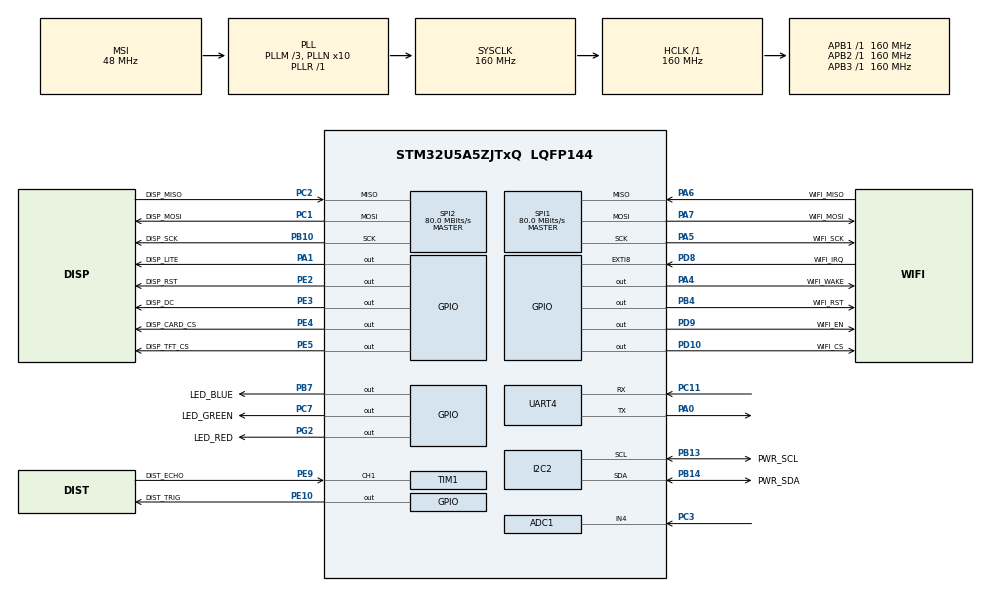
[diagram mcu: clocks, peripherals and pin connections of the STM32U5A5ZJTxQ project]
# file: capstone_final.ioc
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ADC1.Channel-0\#ChannelRegularConversion=ADC_CHANNEL_4
ADC1.MonitoredBy-0\#ChannelRegularConversion=__NULL
ADC1.NbrOfConversionFlag=1
ADC1.OffsetNumber-0\#ChannelRegularConversion=ADC_OFFSET_NONE
ADC1.Rank-0\#ChannelRegularConversion=1
ADC1.SamplingTime-0\#ChannelRegularConversion=ADC_SAMPLETIME_5CYCLE
ADC1.master=1
AES.Algorithm=CRYP_AES_GCM_GMAC
CORTEX_M33_NS.userName=CORTEX_M33
I2C2.Timing=0x30909DEC
Mcu.Family=STM32U5
Mcu.Name=STM32U5A5ZJTxQ
Mcu.Package=LQFP144
NVIC.PriorityGroup=NVIC_PRIORITYGROUP_4
NVIC.TIM1_CC_IRQn=true\:0\:0\:false\:false\:true\:true\:true\:true
PA0.Mode=Asynchronous
PA0.Signal=UART4_TX
PA1.GPIO_Label=DISP_LITE
PA1.Signal=GPIO_Output
PA13\ (JTMS/SWDIO).GPIO_Label=DEBUG_SWDIO
PA13\ (JTMS/SWDIO).Mode=Trace_Asynchronous_SW
PA13\ (JTMS/SWDIO).Signal=DEBUG_JTMS-SWDIO
PA14\ (JTCK/SWCLK).GPIO_Label=DEBUG_SWCLK
PA14\ (JTCK/SWCLK).Mode=Trace_Asynchronous_SW
PA14\ (JTCK/SWCLK).Signal=DEBUG_JTCK-SWCLK
PA4.GPIO_Label=WIFI_WAKE
PA4.Signal=GPIO_Output
PA5.GPIO_Label=WIFI_SCK
PA5.Mode=Full_Duplex_Master
PA5.Signal=SPI1_SCK
PA6.GPIO_Label=WIFI_MISO
PA6.Mode=Full_Duplex_Master
PA6.Signal=SPI1_MISO
PA7.GPIO_Label=WIFI_MOSI
PA7.Mode=Full_Duplex_Master
PA7.Signal=SPI1_MOSI
PB10.GPIO_Label=DISP_SCK
PB10.Mode=Full_Duplex_Master
PB10.Signal=SPI2_SCK
PB13.GPIO_Label=PWR_SCL
PB13.Mode=I2C
PB13.Signal=I2C2_SCL
PB14.GPIO_Label=PWR_SDA
PB14.Mode=I2C
PB14.Signal=I2C2_SDA
PB3\ (JTDO/TRACESWO).GPIO_Label=DEBUG_SWO
PB3\ (JTDO/TRACESWO).Mode=Trace_Asynchronous_SW
PB3\ (JTDO/TRACESWO).Signal=DEBUG_JTDO-SWO
PB4\ (NJTRST).GPIO_Label=WIFI_RST
PB4\ (NJTRST).Signal=GPIO_Output
PB7.GPIO_Label=LED_BLUE
PB7.Signal=GPIO_Output
PC1.GPIO_Label=DISP_MOSI
PC1.Mode=Full_Duplex_Master
PC1.Signal=SPI2_MOSI
PC11.Mode=Asynchronous
PC11.Signal=UART4_RX
PC2.GPIO_Label=DISP_MISO
PC2.Mode=Full_Duplex_Master
PC2.Signal=SPI2_MISO
PC3.Mode=IN4-Single-Ended
PC3.Signal=ADC1_IN4
PC7.GPIO_Label=LED_GREEN
PC7.Signal=GPIO_Output
PD10.GPIO_Label=WIFI_CS
PD10.Signal=GPIO_Output
PD8.GPIO_Label=WIFI_IRQ
PD8.Signal=GPXTI8
PD9.GPIO_Label=WIFI_EN
PD9.Signal=GPIO_Output
PE10.GPIO_Label=DIST_TRIG
PE10.Signal=GPIO_Output
PE2.GPIO_Label=DISP_RST
PE2.Signal=GPIO_Output
PE3.GPIO_Label=DISP_DC
PE3.Signal=GPIO_Output
PE4.GPIO_Label=DISP_CARD_CS
PE4.Signal=GPIO_Output
PE5.GPIO_Label=DISP_TFT_CS
PE5.Signal=GPIO_Output
PE9.GPIO_Label=DIST_ECHO
PE9.Signal=S_TIM1_CH1
PG2.GPIO_Label=LED_RED
PG2.Signal=GPIO_Output
ProjectManager.HeapSize=0x200
ProjectManager.StackSize=0x400
ProjectManager.TargetToolchain=STM32CubeIDE
RCC.ADCFreq_Value=16000000
RCC.AHBFreq_Value=160000000
RCC.APB1Freq_Value=160000000
RCC.APB1TimFreq_Value=160000000
RCC.APB2Freq_Value=160000000
RCC.APB2TimFreq_Value=160000000
RCC.APB3Freq_Value=160000000
RCC.CortexFreq_Value=160000000
RCC.EPOD_VALUE=48000000
RCC.HCLKFreq_Value=160000000
RCC.HSE_VALUE=16000000
RCC.HSI48_VALUE=48000000
RCC.HSI_VALUE=16000000
RCC.LSE_VALUE=32768
RCC.LSIDIV_VALUE=32000
RCC.MSIClockRange=RCC_MSIRANGE_0
RCC.MSI_VALUE=48000000
RCC.PLL1R=1
RCC.PLLFRACN=0
RCC.PLLM=3
RCC.PLLN=10
RCC.SYSCLKFreq_VALUE=160000000
RCC.SYSCLKSource=RCC_SYSCLKSOURCE_PLLCLK
RCC.VCOOutputFreq_Value=160000000
SH.S_TIM1_CH1.0=TIM1_CH1,Input_Capture1_from_TI1
SPI1.CalculateBaudRate=80.0 MBits/s
SPI1.Direction=SPI_DIRECTION_2LINES
SPI1.Mode=SPI_MODE_MASTER
SPI1.VirtualType=VM_MASTER
SPI2.CalculateBaudRate=80.0 MBits/s
SPI2.Direction=SPI_DIRECTION_2LINES
SPI2.Mode=SPI_MODE_MASTER
SPI2.VirtualType=VM_MASTER
TIM1.Channel-Input_Capture1_from_TI1=TIM_CHANNEL_1
TIM1.PeriodNoDither=0xffff-1
TIM1.Prescaler=160-1
VP_AES_VS_AES.Mode=AES_Activate
VP_ICACHE_VS_ICACHE.Mode=DirectMappedCache
VP_LPBAMQUEUE_VS_QUEUE.Mode=QUEUEMODE
VP_LPBAM_VS_SIG1.Mode=SmartRun
VP_LPBAM_VS_SIG4.Mode=LPDMA1
VP_MEMORYMAP_VS_MEMORYMAP.Mode=CurAppReg
VP_PWR_VS_SECSignals.Mode=Security/Privilege
VP_PWR_Vdda.Mode=isolationVdda
board=custom

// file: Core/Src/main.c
/* USER CODE BEGIN Header */
/**
  ******************************************************************************
  * @file           : main.c
  * @brief          : Main program body
  ******************************************************************************
  * @attention
  *
  * Copyright (c) 2024 STMicroelectronics.
  * All rights reserved.
  *
  * This software is licensed under terms that can be found in the LICENSE file
  * in the root directory of this software component.
  * If no LICENSE file comes with this software, it is provided AS-IS.
  *
  ******************************************************************************
  */
/* USER CODE END Header */
#include "main.h"

/* USER CODE BEGIN Includes */
#include <stdbool.h>
#include <string.h>

#include "common/include/nm_common.h"
#include "stm32u5xx_hal_conf.h"
#include "driver/include/m2m_wifi.h"
#include "socket/include/socket.h"
#include "config/conf_winc.h"
/* USER CODE END Includes */

ADC_HandleTypeDef hadc1;

CRYP_HandleTypeDef hcryp;
uint32_t pKeyAES[4] = {0x00000000,0x00000000,0x00000000,0x00000000};
uint32_t pInitVectAES[4] = {0x00000000,0x00000000,0x00000000,0x00000000};
__ALIGN_BEGIN static const uint32_t HeaderAES[1] __ALIGN_END = {
                            0x00000000};

I2C_HandleTypeDef hi2c2;

SPI_HandleTypeDef hspi1;
SPI_HandleTypeDef hspi2;

TIM_HandleTypeDef htim1;

UART_HandleTypeDef huart4;

/* USER CODE BEGIN PV */
UART_HandleTypeDef UartHandle;

typedef struct {
	uint16 sensor_id;
	uint16 battery;
	uint16 distance;
} payload_t;

payload_t payload = {
  			    .sensor_id = 1,
  			    .battery = 90,
  			    .distance = 20
  			  };

static uint8_t socketBuffer[MAIN_WIFI_M2M_BUFFER_SIZE];

static SOCKET controller_socket = -1;

static uint8_t wifi_connected;

static uint32_t Distance;

#ifdef __GNUC__
/* With GCC/RAISONANCE, small printf (option LD Linker->Libraries->Small printf
   set to 'Yes') calls __io_putchar() */
#define PUTCHAR_PROTOTYPE int __io_putchar(int ch)
#else
#define PUTCHAR_PROTOTYPE int fputc(int ch, FILE *f)
#endif /* __GNUC__ */
static void SystemClock_Config(void);
extern void isr(void);

void EXTI8_IRQHandler(void)
{
    uint16_t GPIO_Pin;

    /* Get GPIO_Pin */
    if (__HAL_GPIO_EXTI_GET_IT(CONF_WINC_SPI_INT_PIN))
    {
        GPIO_Pin = CONF_WINC_SPI_INT_PIN;
    }

    HAL_GPIO_EXTI_IRQHandler(GPIO_Pin);
}

void HAL_GPIO_EXTI_Rising_Callback(uint16_t GPIO_Pin)
{
	if(GPIO_Pin == CONF_WINC_SPI_INT_PIN)
    {
        isr();
    }
}

/* USER CODE END PV */

void SystemClock_Config(void);
static void MX_GPIO_Init(void);
static void MX_AES_Init(void);
static void MX_SPI1_Init(void);
static void MX_I2C2_Init(void);
static void MX_SPI2_Init(void);
static void MX_TIM1_Init(void);
static void MX_ADC1_Init(void);
static void MX_UART4_Init(void);
static void MX_ICACHE_Init(void);

/* USER CODE BEGIN 0 */
static void socket_cb(SOCKET sock, uint8_t u8Msg, void *pvMsg)
{
    switch (u8Msg)
    {
        /* Socket connected */
        case SOCKET_MSG_CONNECT:
        {
            tstrSocketConnectMsg *pstrConnect = (tstrSocketConnectMsg *)pvMsg ;
            if (pstrConnect && pstrConnect->s8Error >= 0)
            {
                printf("socket_cb: connect success!\r\n");
                send(controller_socket, &payload, sizeof(payload_t), 0);
            }
            else
            {
                printf("socket_cb: connect error!\r\n") ;
                close(controller_socket) ;
                controller_socket = -1 ;
            }
        }
        break ;
        /* Message send */
        case SOCKET_MSG_SEND:
        {
            printf("socket_cb: send success!\r\n") ;
            recv(controller_socket, socketBuffer, sizeof(socketBuffer), 0) ;
        }
        break;
        /* Message receive */
        case SOCKET_MSG_RECV:
        {
            tstrSocketRecvMsg *pstrRecv = (tstrSocketRecvMsg *)pvMsg ;
            if (pstrRecv && pstrRecv->s16BufferSize > 0)
            {
                printf("socket_cb: recv success!\r\n") ;
                printf("TCP Client Test Complete!\r\n") ;
            }
            else
            {
                printf("socket_cb: recv error!\r\n") ;
                close(controller_socket) ;
                controller_socket = -1 ;
            }
        }
        break;
        default:
        break;
    }
}

static void wifi_cb(uint8_t u8MsgType, void *pvMsg)
{
    switch (u8MsgType)
    {
        case M2M_WIFI_RESP_CON_STATE_CHANGED:
        {
            tstrM2mWifiStateChanged *pstrWifiState = (tstrM2mWifiStateChanged *)pvMsg;
            if (pstrWifiState->u8CurrState == M2M_WIFI_CONNECTED)
            {
                printf("wifi_cb: M2M_WIFI_RESP_CON_STATE_CHANGED: CONNECTED\r\n");
                m2m_wifi_request_dhcp_client();
            }
            else if (pstrWifiState->u8CurrState == M2M_WIFI_DISCONNECTED)
            {
                printf("wifi_cb: M2M_WIFI_RESP_CON_STATE_CHANGED: DISCONNECTED\r\n");
                wifi_connected = M2M_WIFI_DISCONNECTED;
                m2m_wifi_connect((char *)MAIN_WLAN_SSID, sizeof(MAIN_WLAN_SSID), MAIN_WLAN_AUTH, (char *)MAIN_WLAN_WPA_PSK_KEY, M2M_WIFI_CH_ALL);
            }
        }
        break;
        case M2M_WIFI_REQ_DHCP_CONF:
        {
            uint8_t *pu8IPAddress = (uint8_t *)pvMsg;
            wifi_connected = M2M_WIFI_CONNECTED;
            printf("wifi_cb: M2M_WIFI_REQ_DHCP_CONF : IP is %u.%u.%u.%u\r\n", pu8IPAddress[0], pu8IPAddress[1], pu8IPAddress[2], pu8IPAddress[3]);
        }
        break;
        default:
        break;
    }
}

void delay_us (uint16_t us)
{
	__HAL_TIM_SET_COUNTER(&htim1,0);
	while (__HAL_TIM_GET_COUNTER(&htim1) < us);
}

void HAL_TIM_IC_CaptureCallback(TIM_HandleTypeDef *htim)
{
	static uint32_t returnSignal = 0;
	static uint32_t begin_timestamp = 0;
	static uint32_t end_timestamp = 0;

	if (htim->Channel == HAL_TIM_ACTIVE_CHANNEL_1)
	{
		if (returnSignal) {
			returnSignal = 0;
			begin_timestamp = HAL_TIM_ReadCapturedValue(htim, TIM_CHANNEL_1);

			/* switching capture signal to falling edge */
			__HAL_TIM_SET_CAPTUREPOLARITY(htim, TIM_CHANNEL_1, TIM_INPUTCHANNELPOLARITY_FALLING);
		} else {
			returnSignal = 1;
			end_timestamp = HAL_TIM_ReadCapturedValue(htim, TIM_CHANNEL_1);

			/* Resetting timer */
			__HAL_TIM_SET_COUNTER(htim, 0);

			/* from documentation: range = high level time * velocity (340M/S) / 2 -> m/s */
			/* doing cm/us here instead as time is captured in us, not s */
			Distance = (end_timestamp - begin_timestamp) * .034/2;

			/* switching capture signal to rising edge */
			__HAL_TIM_SET_CAPTUREPOLARITY(htim, TIM_CHANNEL_1, TIM_INPUTCHANNELPOLARITY_RISING);

			/* Resetting interrupt */
			__HAL_TIM_DISABLE_IT(&htim1, TIM_IT_CC1);
		}
	}
}

void read_distance (void)
{
	HAL_GPIO_WritePin(DIST_TRIG_GPIO_Port, DIST_TRIG_Pin, GPIO_PIN_SET);  // pull the TRIG pin HIGH

	/* delay 10us in accordance with HS - SR04 documentation */
	delay_us(10);

	HAL_GPIO_WritePin(DIST_TRIG_GPIO_Port, DIST_TRIG_Pin, GPIO_PIN_RESET);  // pull the TRIG pin low

	/* Enable interrupt */
	__HAL_TIM_ENABLE_IT(&htim1, TIM_IT_CC1);
}

/* USER CODE END 0 */

int main(void)
{
  /* USER CODE BEGIN 1 */
  tstrWifiInitParam param;
  int8_t ret;
  struct sockaddr_in addr;
  /* USER CODE END 1 */

  /* MCU Configuration--------------------------------------------------------*/

  /* Reset of all peripherals, Initializes the Flash interface and the Systick. */
  HAL_Init();

  /* Configure the system clock */
  SystemClock_Config();

  /* USER CODE BEGIN SysInit */
  UartHandle.Instance        = USARTx;

  UartHandle.Init.BaudRate   = 115200 ; //9600
  UartHandle.Init.WordLength = UART_WORDLENGTH_8B;
  UartHandle.Init.StopBits   = UART_STOPBITS_1;
  UartHandle.Init.Parity     = UART_PARITY_NONE; //UART_PARITY_ODD
  UartHandle.Init.HwFlowCtl  = UART_HWCONTROL_NONE;
  UartHandle.Init.Mode       = UART_MODE_TX_RX;
  UartHandle.Init.OverSampling = UART_OVERSAMPLING_16;
  if (HAL_UART_Init(&UartHandle) != HAL_OK)
  {
    /* Initialization Error */
    Error_Handler();
  }
  /* USER CODE END SysInit */

  /* Initialize all configured peripherals */
  MX_GPIO_Init();
  MX_AES_Init();
  MX_SPI1_Init();
  MX_I2C2_Init();
  MX_SPI2_Init();
  MX_TIM1_Init();
  MX_ADC1_Init();
  MX_UART4_Init();
  MX_ICACHE_Init();
  /* USER CODE BEGIN 2 */
  HAL_TIM_Base_Start(&htim1);
  /* GPIO Ports Clock Enable */
  __GPIOC_CLK_ENABLE();
  __GPIOA_CLK_ENABLE();
  __GPIOB_CLK_ENABLE();

  printf("Initializing...\n");

  ret = HAL_TIM_IC_Start_IT(&htim1, TIM_CHANNEL_1);
  if (ret != HAL_OK) {
	printf("Error setting mode for distance sensor.\n");
	while (1) {}
  }

  /* Initialize the BSP. */
  printf("BSP Initialization Started\n");
  nm_bsp_init();
  printf("BSP Initialization Completed!\n");

  /* Initialize socket structure */
  addr.sin_family = AF_INET;
  addr.sin_port = _htons(MAIN_WIFI_M2M_SERVER_PORT);
  addr.sin_addr.s_addr = _htonl(MAIN_WIFI_M2M_SERVER_IP);

  /* USER CODE END 2 */

  /* Infinite loop */
  /* USER CODE BEGIN WHILE */

  memset((uint8_t *)&param, 0, sizeof(tstrWifiInitParam));

  /* Initialize Wi-Fi driver with data and status callbacks. */
  param.pfAppWifiCb = wifi_cb;
  ret = m2m_wifi_init(&param);
  if (M2M_SUCCESS != ret) {
      printf("main: m2m_wifi_init call error!(%d)\r\n", ret);
      while (1) {}
  }
/*
  socketInit();
  registerSocketCallback(socket_cb, NULL);

  ret = m2m_wifi_connect((char *)MAIN_WLAN_SSID, sizeof(MAIN_WLAN_SSID), MAIN_WLAN_AUTH, (char *)MAIN_WLAN_WPA_PSK_KEY, M2M_WIFI_CH_ALL);
  if (M2M_SUCCESS != ret) {
	  printf("main: m2m_wifi_connect call error!(%d)\r\n", ret);
  }

  SysTick_Config(SystemCoreClock/1000);
  wifi_connected = M2M_WIFI_CONNECTED;
*/

  while(1) {
	  //read_distance();
	  //HAL_Delay(400);
	  //printf("Dist: %ldcm\n", Distance);
	  /*
	  m2m_wifi_handle_events(NULL);

	  if (wifi_connected == M2M_WIFI_CONNECTED) {
		  if (controller_socket < 0) {
			  if ((controller_socket = socket(AF_INET, SOCK_STREAM, 0)) < 0) {
				  printf("main : failed to create TCP client socket error!\r\n");
				  continue;
			  }

			  // Connect server
			  ret = connect(controller_socket, (struct sockaddr *)&addr, sizeof(struct sockaddr_in)) ;

			  if (ret < 0)
			  {
				  close(controller_socket) ;
				  controller_socket = -1 ;
			  }

		  }
	  }
	  */
  }
    /* USER CODE END WHILE */

}

void SystemClock_Config(void)
{
  RCC_OscInitTypeDef RCC_OscInitStruct = {0};
  RCC_ClkInitTypeDef RCC_ClkInitStruct = {0};

  /** Configure the main internal regulator output voltage
  */
  if (HAL_PWREx_ControlVoltageScaling(PWR_REGULATOR_VOLTAGE_SCALE1) != HAL_OK)
  {
    Error_Handler();
  }

  /** Initializes the CPU, AHB and APB buses clocks
  */
  RCC_OscInitStruct.OscillatorType = RCC_OSCILLATORTYPE_HSI|RCC_OSCILLATORTYPE_MSI;
  RCC_OscInitStruct.HSIState = RCC_HSI_ON;
  RCC_OscInitStruct.HSICalibrationValue = RCC_HSICALIBRATION_DEFAULT;
  RCC_OscInitStruct.MSIState = RCC_MSI_ON;
  RCC_OscInitStruct.MSICalibrationValue = RCC_MSICALIBRATION_DEFAULT;
  RCC_OscInitStruct.MSIClockRange = RCC_MSIRANGE_0;
  RCC_OscInitStruct.PLL.PLLState = RCC_PLL_ON;
  RCC_OscInitStruct.PLL.PLLSource = RCC_PLLSOURCE_MSI;
  RCC_OscInitStruct.PLL.PLLMBOOST = RCC_PLLMBOOST_DIV4;
  RCC_OscInitStruct.PLL.PLLM = 3;
  RCC_OscInitStruct.PLL.PLLN = 10;
  RCC_OscInitStruct.PLL.PLLP = 2;
  RCC_OscInitStruct.PLL.PLLQ = 2;
  RCC_OscInitStruct.PLL.PLLR = 1;
  RCC_OscInitStruct.PLL.PLLRGE = RCC_PLLVCIRANGE_1;
  RCC_OscInitStruct.PLL.PLLFRACN = 0;
  if (HAL_RCC_OscConfig(&RCC_OscInitStruct) != HAL_OK)
  {
    Error_Handler();
  }

  /** Initializes the CPU, AHB and APB buses clocks
  */
  RCC_ClkInitStruct.ClockType = RCC_CLOCKTYPE_HCLK|RCC_CLOCKTYPE_SYSCLK
                              |RCC_CLOCKTYPE_PCLK1|RCC_CLOCKTYPE_PCLK2
                              |RCC_CLOCKTYPE_PCLK3;
  RCC_ClkInitStruct.SYSCLKSource = RCC_SYSCLKSOURCE_PLLCLK;
  RCC_ClkInitStruct.AHBCLKDivider = RCC_SYSCLK_DIV1;
  RCC_ClkInitStruct.APB1CLKDivider = RCC_HCLK_DIV1;
  RCC_ClkInitStruct.APB2CLKDivider = RCC_HCLK_DIV1;
  RCC_ClkInitStruct.APB3CLKDivider = RCC_HCLK_DIV1;

  if (HAL_RCC_ClockConfig(&RCC_ClkInitStruct, FLASH_LATENCY_4) != HAL_OK)
  {
    Error_Handler();
  }
}

static void MX_ADC1_Init(void)
{

  ADC_ChannelConfTypeDef sConfig = {0};

  /** Common config
  */
  hadc1.Instance = ADC1;
  hadc1.Init.ClockPrescaler = ADC_CLOCK_ASYNC_DIV1;
  hadc1.Init.Resolution = ADC_RESOLUTION_14B;
  hadc1.Init.GainCompensation = 0;
  hadc1.Init.DataAlign = ADC_DATAALIGN_RIGHT;
  hadc1.Init.ScanConvMode = ADC_SCAN_DISABLE;
  hadc1.Init.EOCSelection = ADC_EOC_SINGLE_CONV;
  hadc1.Init.LowPowerAutoWait = DISABLE;
  hadc1.Init.ContinuousConvMode = DISABLE;
  hadc1.Init.NbrOfConversion = 1;
  hadc1.Init.DiscontinuousConvMode = DISABLE;
  hadc1.Init.ExternalTrigConv = ADC_SOFTWARE_START;
  hadc1.Init.ExternalTrigConvEdge = ADC_EXTERNALTRIGCONVEDGE_NONE;
  hadc1.Init.DMAContinuousRequests = DISABLE;
  hadc1.Init.TriggerFrequencyMode = ADC_TRIGGER_FREQ_HIGH;
  hadc1.Init.Overrun = ADC_OVR_DATA_PRESERVED;
  hadc1.Init.LeftBitShift = ADC_LEFTBITSHIFT_NONE;
  hadc1.Init.ConversionDataManagement = ADC_CONVERSIONDATA_DR;
  hadc1.Init.OversamplingMode = DISABLE;
  if (HAL_ADC_Init(&hadc1) != HAL_OK)
  {
    Error_Handler();
  }

  /** Configure Regular Channel
  */
  sConfig.Channel = ADC_CHANNEL_4;
  sConfig.Rank = ADC_REGULAR_RANK_1;
  sConfig.SamplingTime = ADC_SAMPLETIME_5CYCLE;
  sConfig.SingleDiff = ADC_SINGLE_ENDED;
  sConfig.OffsetNumber = ADC_OFFSET_NONE;
  sConfig.Offset = 0;
  if (HAL_ADC_ConfigChannel(&hadc1, &sConfig) != HAL_OK)
  {
    Error_Handler();
  }

}

static void MX_AES_Init(void)
{

  hcryp.Instance = AES;
  hcryp.Init.DataType = CRYP_NO_SWAP;
  hcryp.Init.KeySize = CRYP_KEYSIZE_128B;
  hcryp.Init.pKey = (uint32_t *)pKeyAES;
  hcryp.Init.pInitVect = (uint32_t *)pInitVectAES;
  hcryp.Init.Algorithm = CRYP_AES_GCM_GMAC;
  hcryp.Init.Header = (uint32_t *)HeaderAES;
  hcryp.Init.HeaderSize = 1;
  hcryp.Init.DataWidthUnit = CRYP_DATAWIDTHUNIT_WORD;
  hcryp.Init.HeaderWidthUnit = CRYP_HEADERWIDTHUNIT_WORD;
  hcryp.Init.KeyIVConfigSkip = CRYP_KEYIVCONFIG_ALWAYS;
  hcryp.Init.KeyMode = CRYP_KEYMODE_NORMAL;
  if (HAL_CRYP_Init(&hcryp) != HAL_OK)
  {
    Error_Handler();
  }

}

static void MX_I2C2_Init(void)
{

  hi2c2.Instance = I2C2;
  hi2c2.Init.Timing = 0x30909DEC;
  hi2c2.Init.OwnAddress1 = 0;
  hi2c2.Init.AddressingMode = I2C_ADDRESSINGMODE_7BIT;
  hi2c2.Init.DualAddressMode = I2C_DUALADDRESS_DISABLE;
  hi2c2.Init.OwnAddress2 = 0;
  hi2c2.Init.OwnAddress2Masks = I2C_OA2_NOMASK;
  hi2c2.Init.GeneralCallMode = I2C_GENERALCALL_DISABLE;
  hi2c2.Init.NoStretchMode = I2C_NOSTRETCH_DISABLE;
  if (HAL_I2C_Init(&hi2c2) != HAL_OK)
  {
    Error_Handler();
  }

  /** Configure Analogue filter
  */
  if (HAL_I2CEx_ConfigAnalogFilter(&hi2c2, I2C_ANALOGFILTER_ENABLE) != HAL_OK)
  {
    Error_Handler();
  }

  /** Configure Digital filter
  */
  if (HAL_I2CEx_ConfigDigitalFilter(&hi2c2, 0) != HAL_OK)
  {
    Error_Handler();
  }

}

static void MX_ICACHE_Init(void)
{

  /** Enable instruction cache in 1-way (direct mapped cache)
  */
  if (HAL_ICACHE_ConfigAssociativityMode(ICACHE_1WAY) != HAL_OK)
  {
    Error_Handler();
  }
  if (HAL_ICACHE_Enable() != HAL_OK)
  {
    Error_Handler();
  }

}

static void MX_SPI1_Init(void)
{

  SPI_AutonomousModeConfTypeDef HAL_SPI_AutonomousMode_Cfg_Struct = {0};

  /* SPI1 parameter configuration*/
  hspi1.Instance = SPI1;
  hspi1.Init.Mode = SPI_MODE_MASTER;
  hspi1.Init.Direction = SPI_DIRECTION_2LINES;
  hspi1.Init.DataSize = SPI_DATASIZE_4BIT;
  hspi1.Init.CLKPolarity = SPI_POLARITY_LOW;
  hspi1.Init.CLKPhase = SPI_PHASE_1EDGE;
  hspi1.Init.NSS = SPI_NSS_SOFT;
  hspi1.Init.BaudRatePrescaler = SPI_BAUDRATEPRESCALER_2;
  hspi1.Init.FirstBit = SPI_FIRSTBIT_MSB;
  hspi1.Init.TIMode = SPI_TIMODE_DISABLE;
  hspi1.Init.CRCCalculation = SPI_CRCCALCULATION_DISABLE;
  hspi1.Init.CRCPolynomial = 0x7;
  hspi1.Init.NSSPMode = SPI_NSS_PULSE_ENABLE;
  hspi1.Init.NSSPolarity = SPI_NSS_POLARITY_LOW;
  hspi1.Init.FifoThreshold = SPI_FIFO_THRESHOLD_01DATA;
  hspi1.Init.MasterSSIdleness = SPI_MASTER_SS_IDLENESS_00CYCLE;
  hspi1.Init.MasterInterDataIdleness = SPI_MASTER_INTERDATA_IDLENESS_00CYCLE;
  hspi1.Init.MasterReceiverAutoSusp = SPI_MASTER_RX_AUTOSUSP_DISABLE;
  hspi1.Init.MasterKeepIOState = SPI_MASTER_KEEP_IO_STATE_DISABLE;
  hspi1.Init.IOSwap = SPI_IO_SWAP_DISABLE;
  hspi1.Init.ReadyMasterManagement = SPI_RDY_MASTER_MANAGEMENT_INTERNALLY;
  hspi1.Init.ReadyPolarity = SPI_RDY_POLARITY_HIGH;
  if (HAL_SPI_Init(&hspi1) != HAL_OK)
  {
    Error_Handler();
  }
  HAL_SPI_AutonomousMode_Cfg_Struct.TriggerState = SPI_AUTO_MODE_DISABLE;
  HAL_SPI_AutonomousMode_Cfg_Struct.TriggerSelection = SPI_GRP1_GPDMA_CH0_TCF_TRG;
  HAL_SPI_AutonomousMode_Cfg_Struct.TriggerPolarity = SPI_TRIG_POLARITY_RISING;
  if (HAL_SPIEx_SetConfigAutonomousMode(&hspi1, &HAL_SPI_AutonomousMode_Cfg_Struct) != HAL_OK)
  {
    Error_Handler();
  }

}

static void MX_SPI2_Init(void)
{

  SPI_AutonomousModeConfTypeDef HAL_SPI_AutonomousMode_Cfg_Struct = {0};

  /* SPI2 parameter configuration*/
  hspi2.Instance = SPI2;
  hspi2.Init.Mode = SPI_MODE_MASTER;
  hspi2.Init.Direction = SPI_DIRECTION_2LINES;
  hspi2.Init.DataSize = SPI_DATASIZE_4BIT;
  hspi2.Init.CLKPolarity = SPI_POLARITY_LOW;
  hspi2.Init.CLKPhase = SPI_PHASE_1EDGE;
  hspi2.Init.NSS = SPI_NSS_SOFT;
  hspi2.Init.BaudRatePrescaler = SPI_BAUDRATEPRESCALER_2;
  hspi2.Init.FirstBit = SPI_FIRSTBIT_MSB;
  hspi2.Init.TIMode = SPI_TIMODE_DISABLE;
  hspi2.Init.CRCCalculation = SPI_CRCCALCULATION_DISABLE;
  hspi2.Init.CRCPolynomial = 0x7;
  hspi2.Init.NSSPMode = SPI_NSS_PULSE_ENABLE;
  hspi2.Init.NSSPolarity = SPI_NSS_POLARITY_LOW;
  hspi2.Init.FifoThreshold = SPI_FIFO_THRESHOLD_01DATA;
  hspi2.Init.MasterSSIdleness = SPI_MASTER_SS_IDLENESS_00CYCLE;
  hspi2.Init.MasterInterDataIdleness = SPI_MASTER_INTERDATA_IDLENESS_00CYCLE;
  hspi2.Init.MasterReceiverAutoSusp = SPI_MASTER_RX_AUTOSUSP_DISABLE;
  hspi2.Init.MasterKeepIOState = SPI_MASTER_KEEP_IO_STATE_DISABLE;
  hspi2.Init.IOSwap = SPI_IO_SWAP_DISABLE;
  hspi2.Init.ReadyMasterManagement = SPI_RDY_MASTER_MANAGEMENT_INTERNALLY;
  hspi2.Init.ReadyPolarity = SPI_RDY_POLARITY_HIGH;
  if (HAL_SPI_Init(&hspi2) != HAL_OK)
  {
    Error_Handler();
  }
  HAL_SPI_AutonomousMode_Cfg_Struct.TriggerState = SPI_AUTO_MODE_DISABLE;
  HAL_SPI_AutonomousMode_Cfg_Struct.TriggerSelection = SPI_GRP1_GPDMA_CH0_TCF_TRG;
  HAL_SPI_AutonomousMode_Cfg_Struct.TriggerPolarity = SPI_TRIG_POLARITY_RISING;
  if (HAL_SPIEx_SetConfigAutonomousMode(&hspi2, &HAL_SPI_AutonomousMode_Cfg_Struct) != HAL_OK)
  {
    Error_Handler();
  }

}

static void MX_TIM1_Init(void)
{

  TIM_MasterConfigTypeDef sMasterConfig = {0};
  TIM_IC_InitTypeDef sConfigIC = {0};

  htim1.Instance = TIM1;
  htim1.Init.Prescaler = 160-1;
  htim1.Init.CounterMode = TIM_COUNTERMODE_UP;
  htim1.Init.Period = 65534;
  htim1.Init.ClockDivision = TIM_CLOCKDIVISION_DIV1;
  htim1.Init.RepetitionCounter = 0;
  htim1.Init.AutoReloadPreload = TIM_AUTORELOAD_PRELOAD_DISABLE;
  if (HAL_TIM_IC_Init(&htim1) != HAL_OK)
  {
    Error_Handler();
  }
  sMasterConfig.MasterOutputTrigger = TIM_TRGO_RESET;
  sMasterConfig.MasterOutputTrigger2 = TIM_TRGO2_RESET;
  sMasterConfig.MasterSlaveMode = TIM_MASTERSLAVEMODE_DISABLE;
  if (HAL_TIMEx_MasterConfigSynchronization(&htim1, &sMasterConfig) != HAL_OK)
  {
    Error_Handler();
  }
  sConfigIC.ICPolarity = TIM_INPUTCHANNELPOLARITY_RISING;
  sConfigIC.ICSelection = TIM_ICSELECTION_DIRECTTI;
  sConfigIC.ICPrescaler = TIM_ICPSC_DIV1;
  sConfigIC.ICFilter = 0;
  if (HAL_TIM_IC_ConfigChannel(&htim1, &sConfigIC, TIM_CHANNEL_1) != HAL_OK)
  {
    Error_Handler();
  }

}

static void MX_UART4_Init(void)
{

  huart4.Instance = UART4;
  huart4.Init.BaudRate = 115200;
  huart4.Init.WordLength = UART_WORDLENGTH_8B;
  huart4.Init.StopBits = UART_STOPBITS_1;
  huart4.Init.Parity = UART_PARITY_NONE;
  huart4.Init.Mode = UART_MODE_TX_RX;
  huart4.Init.HwFlowCtl = UART_HWCONTROL_NONE;
  huart4.Init.OverSampling = UART_OVERSAMPLING_16;
  huart4.Init.OneBitSampling = UART_ONE_BIT_SAMPLE_DISABLE;
  huart4.Init.ClockPrescaler = UART_PRESCALER_DIV1;
  huart4.AdvancedInit.AdvFeatureInit = UART_ADVFEATURE_NO_INIT;
  if (HAL_UART_Init(&huart4) != HAL_OK)
  {
    Error_Handler();
  }
  if (HAL_UARTEx_SetTxFifoThreshold(&huart4, UART_TXFIFO_THRESHOLD_1_8) != HAL_OK)
  {
    Error_Handler();
  }
  if (HAL_UARTEx_SetRxFifoThreshold(&huart4, UART_RXFIFO_THRESHOLD_1_8) != HAL_OK)
  {
    Error_Handler();
  }
  if (HAL_UARTEx_DisableFifoMode(&huart4) != HAL_OK)
  {
    Error_Handler();
  }

}

static void MX_GPIO_Init(void)
{
  GPIO_InitTypeDef GPIO_InitStruct = {0};

  /* GPIO Ports Clock Enable */
  __HAL_RCC_GPIOE_CLK_ENABLE();
  __HAL_RCC_GPIOC_CLK_ENABLE();
  __HAL_RCC_GPIOA_CLK_ENABLE();
  __HAL_RCC_GPIOB_CLK_ENABLE();
  __HAL_RCC_GPIOD_CLK_ENABLE();
  __HAL_RCC_GPIOG_CLK_ENABLE();

  /*Configure GPIO pin Output Level */
  HAL_GPIO_WritePin(GPIOE, DISP_RST_Pin|DISP_DC_Pin|DISP_CARD_CS_Pin|DISP_TFT_CS_Pin
                          |DIST_TRIG_Pin, GPIO_PIN_RESET);

  /*Configure GPIO pin Output Level */
  HAL_GPIO_WritePin(GPIOA, DISP_LITE_Pin|WIFI_WAKE_Pin, GPIO_PIN_RESET);

  /*Configure GPIO pin Output Level */
  HAL_GPIO_WritePin(GPIOD, WIFI_EN_Pin|WIFI_CS_Pin, GPIO_PIN_RESET);

  /*Configure GPIO pin Output Level */
  HAL_GPIO_WritePin(LED_RED_GPIO_Port, LED_RED_Pin, GPIO_PIN_RESET);

  /*Configure GPIO pin Output Level */
  HAL_GPIO_WritePin(LED_GREEN_GPIO_Port, LED_GREEN_Pin, GPIO_PIN_RESET);

  /*Configure GPIO pin Output Level */
  HAL_GPIO_WritePin(GPIOB, WIFI_RST_Pin|LED_BLUE_Pin, GPIO_PIN_RESET);

  /*Configure GPIO pins : DISP_RST_Pin DISP_DC_Pin DISP_CARD_CS_Pin DISP_TFT_CS_Pin
                           DIST_TRIG_Pin */
  GPIO_InitStruct.Pin = DISP_RST_Pin|DISP_DC_Pin|DISP_CARD_CS_Pin|DISP_TFT_CS_Pin
                          |DIST_TRIG_Pin;
  GPIO_InitStruct.Mode = GPIO_MODE_OUTPUT_PP;
  GPIO_InitStruct.Pull = GPIO_NOPULL;
  GPIO_InitStruct.Speed = GPIO_SPEED_FREQ_LOW;
  HAL_GPIO_Init(GPIOE, &GPIO_InitStruct);

  /*Configure GPIO pins : DISP_LITE_Pin WIFI_WAKE_Pin */
  GPIO_InitStruct.Pin = DISP_LITE_Pin|WIFI_WAKE_Pin;
  GPIO_InitStruct.Mode = GPIO_MODE_OUTPUT_PP;
  GPIO_InitStruct.Pull = GPIO_NOPULL;
  GPIO_InitStruct.Speed = GPIO_SPEED_FREQ_LOW;
  HAL_GPIO_Init(GPIOA, &GPIO_InitStruct);

  /*Configure GPIO pin : WIFI_IRQ_Pin */
  GPIO_InitStruct.Pin = WIFI_IRQ_Pin;
  GPIO_InitStruct.Mode = GPIO_MODE_IT_RISING;
  GPIO_InitStruct.Pull = GPIO_NOPULL;
  HAL_GPIO_Init(WIFI_IRQ_GPIO_Port, &GPIO_InitStruct);

  /*Configure GPIO pins : WIFI_EN_Pin WIFI_CS_Pin */
  GPIO_InitStruct.Pin = WIFI_EN_Pin|WIFI_CS_Pin;
  GPIO_InitStruct.Mode = GPIO_MODE_OUTPUT_PP;
  GPIO_InitStruct.Pull = GPIO_NOPULL;
  GPIO_InitStruct.Speed = GPIO_SPEED_FREQ_LOW;
  HAL_GPIO_Init(GPIOD, &GPIO_InitStruct);

  /*Configure GPIO pin : LED_RED_Pin */
  GPIO_InitStruct.Pin = LED_RED_Pin;
  GPIO_InitStruct.Mode = GPIO_MODE_OUTPUT_PP;
  GPIO_InitStruct.Pull = GPIO_NOPULL;
  GPIO_InitStruct.Speed = GPIO_SPEED_FREQ_LOW;
  HAL_GPIO_Init(LED_RED_GPIO_Port, &GPIO_InitStruct);

  /*Configure GPIO pin : LED_GREEN_Pin */
  GPIO_InitStruct.Pin = LED_GREEN_Pin;
  GPIO_InitStruct.Mode = GPIO_MODE_OUTPUT_PP;
  GPIO_InitStruct.Pull = GPIO_NOPULL;
  GPIO_InitStruct.Speed = GPIO_SPEED_FREQ_LOW;
  HAL_GPIO_Init(LED_GREEN_GPIO_Port, &GPIO_InitStruct);

  /*Configure GPIO pins : WIFI_RST_Pin LED_BLUE_Pin */
  GPIO_InitStruct.Pin = WIFI_RST_Pin|LED_BLUE_Pin;
  GPIO_InitStruct.Mode = GPIO_MODE_OUTPUT_PP;
  GPIO_InitStruct.Pull = GPIO_NOPULL;
  GPIO_InitStruct.Speed = GPIO_SPEED_FREQ_LOW;
  HAL_GPIO_Init(GPIOB, &GPIO_InitStruct);

}

/* USER CODE BEGIN 4 */
int _write(int file, char *ptr, int len) {
	for (int i = 0; i < len; i++) {
		ITM_SendChar(*ptr++);
	}
	return len;
}
/* USER CODE END 4 */

void Error_Handler(void)
{
  __disable_irq();
  while (1)
  {
  }
}
